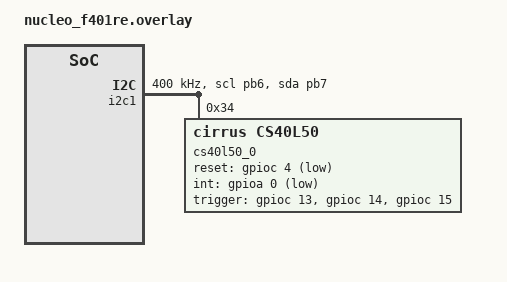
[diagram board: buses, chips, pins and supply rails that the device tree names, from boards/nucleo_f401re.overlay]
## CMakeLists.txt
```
# SPDX-License-Identifier: Apache-2.0

cmake_minimum_required(VERSION 3.28.0)

find_package(Zephyr REQUIRED HINTS $ENV{ZEPHYR_BASE})
project(cs40l5x)

target_sources(app PRIVATE src/main.c)
```

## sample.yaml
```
sample:
  name: CS40L5x Haptic Driver Sample
tests:
  sample.haptics.cs40l5x:
    build_only: true
    tags: haptics
    platform_allow:
      - nucleo_f401re
      - crd40l50
```

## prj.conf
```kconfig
CONFIG_HAPTICS=y
CONFIG_LOG=y

# Demonstrate PM runtime features
CONFIG_PM_DEVICE=y
CONFIG_PM_DEVICE_RUNTIME=y

# Enable custom shell sample for demonstration
CONFIG_SHELL=y
CONFIG_HAPTICS_SHELL=y

# All CS40L5x Kconfig options and their defaults
CONFIG_HAPTICS_CS40L5X_CALIBRATION=y
CONFIG_HAPTICS_CS40L5X_CLICK_COMPENSATION=y
CONFIG_HAPTICS_CS40L5X_RTH_EFFECTS=y
CONFIG_HAPTICS_CS40L5X_DYNAMIC_F0=y
CONFIG_HAPTICS_CS40L5X_PM_ACTIVE_TIMEOUT_MS=0
CONFIG_HAPTICS_CS40L5X_PM_STDBY_TIMEOUT_MS=100
```

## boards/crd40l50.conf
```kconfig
# Required to use shell interface with the SEGGER J-Link
CONFIG_SERIAL=y
CONFIG_CONSOLE=y
CONFIG_RTT_CONSOLE=y
CONFIG_UART_RTT=y
CONFIG_USE_SEGGER_RTT=y
CONFIG_SHELL_BACKEND_RTT=y
CONFIG_SEGGER_RTT_BUFFER_SIZE_DOWN=32

# Reduce size of the sample application
CONFIG_SHELL_MINIMAL=y
```

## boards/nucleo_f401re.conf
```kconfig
# SPDX-FileCopyrightText: Copyright The Zephyr Project Contributors
# SPDX-License-Identifier: Apache-2.0

# Add debug logging for Nucleo sample only due to size considerations
CONFIG_HAPTICS_LOG_LEVEL_DBG=y
```

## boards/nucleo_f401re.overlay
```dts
/*
 * Copyright (c) 2025 Cirrus Logic, Inc.
 *
 * SPDX-License-Identifier: Apache-2.0
 */

#include <zephyr/dt-bindings/i2c/i2c.h>

/ {
	aliases {
		haptic0 = &cs40l50_0;
	};
};

&i2c1 {

	clock-frequency = <I2C_BITRATE_FAST>;

	pinctrl-0 = <&i2c1_scl_pb6 &i2c1_sda_pb7>;
	pinctrl-1 = <&analog_pb6 &analog_pb7>;
	pinctrl-names = "default", "sleep";
	scl-gpios = <&gpiob 6 GPIO_ACTIVE_HIGH>;
	sda-gpios = <&gpiob 7 GPIO_ACTIVE_HIGH>;
	status = "okay";

	cs40l50_0: cs40l50@34 {
		compatible = "cirrus,cs40l50";
		reg = <0x34>;

		reset-gpios = <&gpioc 4 (GPIO_ACTIVE_LOW | GPIO_PULL_UP)>;
		int-gpios = <&gpioa 0 (GPIO_ACTIVE_LOW | GPIO_PULL_UP)>;
		trigger-gpios = <&gpioc 13 GPIO_PULL_UP>,
				<&gpioc 14 GPIO_PULL_UP>,
				<&gpioc 15 GPIO_PULL_UP>;

		cirrus,trigger-mapping = <11 12 13>;

		status = "okay";
	};
};

&usart1 {
	status = "disabled";
};
```

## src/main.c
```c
/*
 * Copyright (c) 2025 Cirrus Logic, Inc.
 *
 * SPDX-License-Identifier: Apache-2.0
 */

#include <errno.h>
#include <zephyr/device.h>
#include <zephyr/devicetree.h>
#include <zephyr/drivers/haptics/cs40l5x.h>
#include <zephyr/kernel.h>
#include <zephyr/logging/log.h>
#include <zephyr/pm/device_runtime.h>
#include <zephyr/shell/shell.h>
#include <zephyr/sys/util.h>

#define CS40L5X_DEMO_TRIGGER DT_NODE_HAS_PROP(DT_ALIAS(haptic0), trigger_gpios)

#if CS40L5X_DEMO_TRIGGER
#include <zephyr/drivers/gpio.h>
#endif /* CS40L5X_DEMO_TRIGGER */

#if CONFIG_SHELL
#include <stdlib.h>
#endif /* CONFIG_SHELL */

LOG_MODULE_REGISTER(main);

#define CS40L5X_DEMO_REDC              0xCC
#define CS40L5X_DEMO_F0                0x258
#define CS40L5X_DEMO_INFINITE_DURATION 0
#define CS40L5X_DEMO_FREQUENCY         240
#define CS40L5X_DEMO_LEVEL             27

const struct device *cs40l5x = DEVICE_DT_GET(DT_ALIAS(haptic0));

#if CS40L5X_DEMO_TRIGGER
const struct gpio_dt_spec demo_gpio = GPIO_DT_SPEC_GET_BY_IDX(DT_ALIAS(haptic0), trigger_gpios, 0);
#endif /* CS40L5X_DEMO_TRIGGER */

#if CONFIG_SHELL
#define CS40L5X_HELP                SHELL_HELP("CS40L5x haptics commands", NULL)
#define CS40L5X_CONFIGURE_BUZZ_HELP SHELL_HELP("Configure buzz output", "<freq> <level> <dur>")
#define CS40L5X_TRIGGER_HELP        SHELL_HELP("Induce trigger playback via GPIO", "<gpio> <pin>")

static int cmd_configure_buzz(const struct shell *sh, size_t argc, char **argv)
{
	uint32_t duration, frequency, level;

	frequency = strtoul(argv[1], NULL, 10);
	level = strtoul(argv[2], NULL, 10);
	duration = strtoul(argv[3], NULL, 10);

	if (level > UINT8_MAX) {
		shell_error(sh, "Level must be between 0 and 255");
		return -EINVAL;
	}

	return cs40l5x_configure_buzz(cs40l5x, frequency, (uint8_t)level, duration);
}

#if CS40L5X_DEMO_TRIGGER
static int cmd_trigger(const struct shell *sh, size_t argc, char **argv)
{
	const struct device *dev;
	uint32_t pin;

	dev = shell_device_get_binding(argv[1]);
	if (dev == NULL) {
		shell_error(sh, "GPIO device not found (%d)", -EINVAL);
		return -EINVAL;
	}

	pin = strtoul(argv[2], NULL, 10);

	if (pin > UINT8_MAX) {
		shell_error(sh, "GPIO pin too large (%d)", -EINVAL);
		return -EINVAL;
	}

	return gpio_pin_toggle(dev, pin);
}

static bool device_is_gpio(const struct device *dev)
{
	return DEVICE_API_IS(gpio, dev);
}

static void gpio_name_get(size_t idx, struct shell_static_entry *entry)
{
	const struct device *dev = shell_device_filter(idx, device_is_gpio);

	entry->syntax = (dev != NULL) ? dev->name : NULL;
	entry->handler = NULL;
	entry->help = NULL;
	entry->subcmd = NULL;
}

SHELL_DYNAMIC_CMD_CREATE(dsub_gpio_name, gpio_name_get);
#endif /* CS40L5X_DEMO_TRIGGER */

/* clang-format off */
SHELL_STATIC_SUBCMD_SET_CREATE(cs40l5x_cmds,
	SHELL_CMD_ARG(configure_buzz, NULL, CS40L5X_CONFIGURE_BUZZ_HELP, cmd_configure_buzz, 4, 0),
#if CS40L5X_DEMO_TRIGGER
	SHELL_CMD_ARG(trigger, &dsub_gpio_name, CS40L5X_TRIGGER_HELP, cmd_trigger, 3, 0),
#endif /* CS40L5X_DEMO_TRIGGER */
	SHELL_SUBCMD_SET_END);
/* clang-format on */

SHELL_CMD_REGISTER(cs40l5x, &cs40l5x_cmds, "CS40L5x shell commands", NULL);
#endif /* CONFIG_SHELL */

static const int8_t pcm_samples[78] = {
	0x00, 0x07, 0x0D, 0x12, 0x18, 0x1E, 0x22, 0x27, 0x2B, 0x2D, 0x30, 0x31, 0x32,
	0x32, 0x31, 0x30, 0x2D, 0x2B, 0x27, 0x22, 0x1E, 0x18, 0x12, 0x0D, 0x07, 0x00,
	0xF9, 0xF3, 0xED, 0xE8, 0xE2, 0xDD, 0xD9, 0xD5, 0xD2, 0xD0, 0xCE, 0xCD, 0xCD,
	0xCE, 0xD0, 0xD2, 0xD5, 0xD9, 0xDD, 0xE2, 0xE8, 0xED, 0xF3, 0xF9, 0x00, 0x07,
	0x0D, 0x12, 0x18, 0x1E, 0x22, 0x27, 0x2B, 0x2D, 0x30, 0x31, 0x32, 0x32, 0x31,
	0x30, 0x2D, 0x2B, 0x27, 0x22, 0x1E, 0x18, 0x12, 0x0D, 0x07, 0x00, 0xF9, 0xF3,
};

static const struct cs40l5x_pwle_section pwle_sections[] = {
	{
		.level = 0x400,
	},
	{
		.duration = 0x0028,
		.level = 0x400,
		.frequency = 0x320,
		.flags = 0x1,
	},
	{
		.duration = 0,
		.level = 0x200,
		.frequency = 0x320,
		.flags = 0x1,
	},
	{
		.duration = 0x0014,
		.level = 0x200,
		.frequency = 0x640,
		.flags = 0x1,
	},
	{
		.duration = 0,
		.level = 0x400,
		.frequency = 0x190,
		.flags = 0x1,
	},
	{
		.duration = 0x00A0,
		.level = 0x400,
		.frequency = 0x7D0,
		.flags = 0x9,
	},
	{
		.duration = 0,
		.level = 0x200,
		.frequency = 0x320,
		.flags = 0x1,
	},
	{
		.duration = 0x0003,
		.level = 0x200,
		.frequency = 0x320,
		.flags = 0x3,
	},
};

static void cs40l5x_dummy_callback(const struct device *const dev, const uint32_t errors,
				   void *const user_data)
{
	LOG_INF("fatal errors detected (0x%08X)", errors);
}

int main(void)
{
	const union haptics_config cfg = {.idx = 0};
	int ret;

	if (!cs40l5x || !device_is_ready(cs40l5x)) {
		LOG_ERR("device not available: %s", cs40l5x->name);
		return -ENODEV;
	}

	if (IS_ENABLED(CONFIG_PM_DEVICE_RUNTIME)) {
		ret = pm_device_runtime_enable(cs40l5x);
		if (ret < 0) {
			LOG_ERR("PM runtime disabled for %s (%d)", cs40l5x->name, ret);
			return ret;
		}
	}

	(void)haptics_register_error_callback(cs40l5x, cs40l5x_dummy_callback, NULL);

	/* Demonstration of PCM upload (CUSTOM0) */
	ret = cs40l5x_upload_pcm(cs40l5x, 0, CS40L5X_DEMO_REDC, CS40L5X_DEMO_F0, pcm_samples,
				 ARRAY_SIZE(pcm_samples));
	if (ret < 0) {
		LOG_WRN("upload PCM failure (%d)", ret);
	}

	/* Demonstration of PWLE upload (CUSTOM1) */
	ret = cs40l5x_upload_pwle(cs40l5x, 1, pwle_sections, ARRAY_SIZE(pwle_sections));
	if (ret < 0) {
		LOG_WRN("upload PWLE failure (%d)", ret);
	}

	/* Demonstration of buzz configuration (BUZ0) */
	ret = cs40l5x_configure_buzz(cs40l5x, CS40L5X_DEMO_FREQUENCY, CS40L5X_DEMO_LEVEL,
				       CS40L5X_DEMO_INFINITE_DURATION);
	if (ret < 0) {
		LOG_WRN("buzz configuration failure (%d)", ret);
	}

#if CS40L5X_DEMO_TRIGGER
	/* Demonstration of GPIO configuration for edge-triggered haptic effects */
	ret = cs40l5x_configure_trigger(cs40l5x, &demo_gpio, HAPTICS_SOURCE_ROM, &cfg,
					CS40L5X_ATTENUATION_3DB, CS40L5X_RISING_EDGE);
	if (ret < 0) {
		LOG_WRN("configure GPIO trigger failure (%d)", ret);
	}
#endif /* CS40L5X_DEMO_TRIGGER */

	/* Basic demonstration if not using the custom shell interface. */
	if (!IS_ENABLED(CONFIG_SHELL)) {
		ret = haptics_select_source(cs40l5x, (int)CS40L5X_SOURCE_BUZ, &cfg);
		if (ret < 0) {
			LOG_WRN("failed to select output (%d)", ret);
		}

		ret = haptics_start_output(cs40l5x);
		if (ret < 0) {
			LOG_WRN("failed to start output (%d)", ret);
		}

		(void)k_msleep(2000);

		ret = haptics_select_source(cs40l5x, HAPTICS_SOURCE_ROM, &cfg);
		if (ret < 0) {
			LOG_WRN("failed to select output during playback (%d)", ret);
		}

		ret = haptics_start_output(cs40l5x);
		if (ret < 0) {
			LOG_WRN("failed to preempt output (%d)", ret);
		}

		(void)k_msleep(2000);

		ret = haptics_stop_output(cs40l5x);
		if (ret < 0) {
			LOG_WRN("failed to stop output (%d)", ret);
		}
	}

	return 0;
}
```
